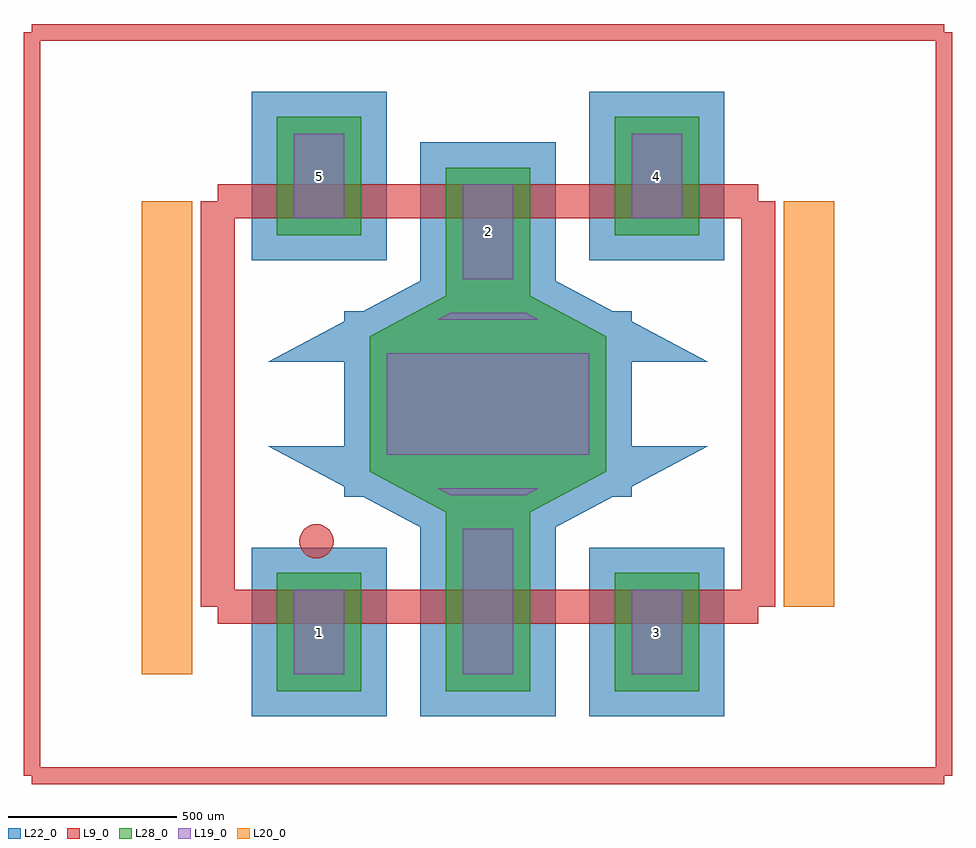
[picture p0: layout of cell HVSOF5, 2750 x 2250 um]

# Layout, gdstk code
import gdstk
lib = gdstk.Library(unit=1e-6, precision=1e-09)
def R(c, l, rs):  # rectangles x0, y0, x1, y1
    for r in rs: c.add(gdstk.rectangle(r[:2], r[2:], *l))
def P(c, l, *ps):  # polygons
    for p in ps: c.add(gdstk.Polygon(p, *l))
L9_0 = (9, 0)
L19_0 = (19, 0)
L20_0 = (20, 0)
L22_0 = (22, 0)
L28_0 = (28, 0)

hvsof5 = lib.new_cell('HVSOF5')
P(hvsof5, L9_0, [(-457.2,-406.4),(-458.176,-396.489),(-461.067,-386.96),(-465.761,-378.177),(-472.079,-370.479),(-479.777,-364.161),(-488.56,-359.467),(-498.089,-356.576),(-508,-355.6),(-517.911,-356.576),(-527.44,-359.467),(-536.223,-364.161),(-543.921,-370.479),(-550.239,-378.177),(-554.933,-386.96),(-557.824,-396.489),(-558.8,-406.4),(-557.824,-416.311),(-554.933,-425.84),(-550.239,-434.623),(-543.921,-442.321),(-536.223,-448.639),(-527.44,-453.333),(-517.911,-456.224),(-508,-457.2),(-498.089,-456.224),(-488.56,-453.333),(-479.777,-448.639),(-472.079,-442.321),(-465.761,-434.623),(-461.067,-425.84),(-458.176,-416.311)])
R(hvsof5, L19_0, [(-575,-800,-425,-550), (-75,-800,75,-370), (425,-800,575,-550), (-300,-150,300,150), (-75,370,75,650), (-575,550,-425,800), (425,550,575,800)])
P(hvsof5, L19_0, [(-150,-250),(150,-250),(112.5,-270),(-112.5,-270)],
  [(-112.5,270),(112.5,270),(150,250),(-150,250)])
R(hvsof5, L22_0, [(-700,-925,-300,-425), (-200,-925,200,-245), (300,-925,700,-425), (-425,-275,425,275), (-200,245,200,775), (-700,425,-300,925), (300,425,700,925)])
P(hvsof5, L22_0, [(-649.999,-125),(649.999,-125),(143.749,-395),(-143.749,-395)],
  [(-143.749,395),(143.749,395),(649.999,125),(-649.999,125)])
R(hvsof5, L28_0, [(-625,-850,-375,-500), (-125,-850,125,-320), (375,-850,625,-500), (-350,-200,350,200), (-125,320,125,700), (-625,500,-375,850), (375,500,625,850)])
P(hvsof5, L28_0, [(-350,-200),(350,-200),(125,-320),(-125,-320)],
  [(-125,320),(125,320),(350,200),(-350,200)])
hvsof5.add(gdstk.FlexPath([(-950,-800),(-950,600)], 149.998, ends="flush", simple_path=True, layer=20, datatype=0))  # L20_0
hvsof5.add(gdstk.FlexPath([(950,-600),(950,600)], 149.998, ends="flush", simple_path=True, layer=20, datatype=0))  # L20_0
hvsof5.add(gdstk.FlexPath([(-800,600),(-800,-600)], 100, ends="flush", simple_path=True, layer=9, datatype=0))  # L9_0
hvsof5.add(gdstk.FlexPath([(800,600),(800,-600)], 100, ends="flush", simple_path=True, layer=9, datatype=0))  # L9_0
hvsof5.add(gdstk.FlexPath([(-800,600),(800,600)], 100, ends="flush", simple_path=True, layer=9, datatype=0))  # L9_0
hvsof5.add(gdstk.FlexPath([(-800,-600),(800,-600)], 100, ends="flush", simple_path=True, layer=9, datatype=0))  # L9_0
hvsof5.add(gdstk.FlexPath([(-1350,1100),(-1350,-1100)], 50, ends="flush", simple_path=True, layer=9, datatype=0))  # L9_0
hvsof5.add(gdstk.FlexPath([(1350,1100),(1350,-1100)], 50, ends="flush", simple_path=True, layer=9, datatype=0))  # L9_0
hvsof5.add(gdstk.FlexPath([(-1350,-1100),(1350,-1100)], 50, ends="flush", simple_path=True, layer=9, datatype=0))  # L9_0
hvsof5.add(gdstk.FlexPath([(-1350,1100),(1350,1100)], 50, ends="flush", simple_path=True, layer=9, datatype=0))  # L9_0
hvsof5.add(gdstk.Label('1', (-500,-675), layer=28, texttype=0))
hvsof5.add(gdstk.Label('3', (500,-675), layer=28, texttype=0))
hvsof5.add(gdstk.Label('4', (500,675), layer=28, texttype=0))
hvsof5.add(gdstk.Label('5', (-500,675), layer=28, texttype=0))
hvsof5.add(gdstk.Label('2', (0,510), layer=28, texttype=0))
hvsof5.add(gdstk.Label('type', (0,1905), layer=9, texttype=0))
hvsof5.add(gdstk.Label('devicename', (0,-1905), layer=9, texttype=0))

lib.write_gds('HVSOF5.gds')
